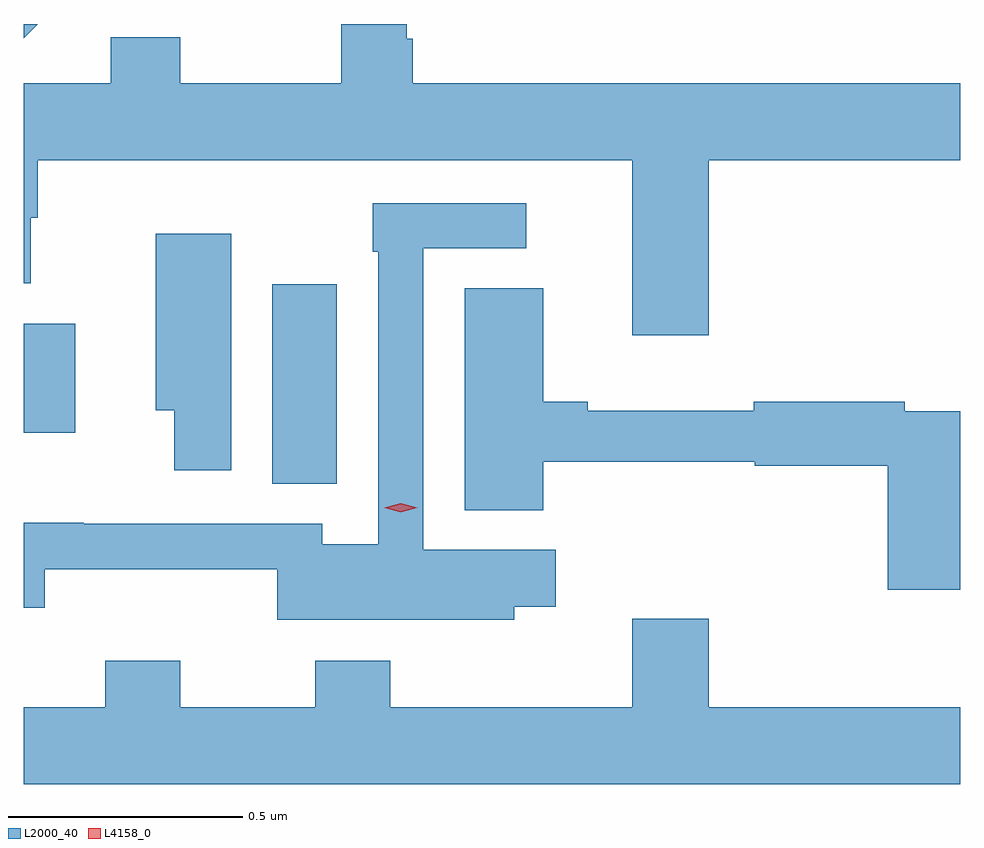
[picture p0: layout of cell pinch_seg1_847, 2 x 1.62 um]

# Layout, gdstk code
import gdstk
lib = gdstk.Library(unit=1e-6, precision=1e-09)
def R(c, l, rs):  # rectangles x0, y0, x1, y1
    for r in rs: c.add(gdstk.rectangle(r[:2], r[2:], *l))
def P(c, l, *ps):  # polygons
    for p in ps: c.add(gdstk.Polygon(p, *l))
L2000_40 = (2000, 40)
L4158_0 = (4158, 0)

pinch_seg1_847 = lib.new_cell('pinch_seg1_847')
R(pinch_seg1_847, L2000_40, [(487.916,545.713,488.053,546.139), (487.385,545.822,487.495,546.055)])
P(pinch_seg1_847, L2000_40, [(488.848,546.404),(489.385,546.404),(489.385,546.568),(488.216,546.568),(488.216,546.664),(488.203,546.664),(488.203,546.695),(488.063,546.695),(488.063,546.568),(487.719,546.568),(487.719,546.667),(487.571,546.667),(487.571,546.568),(487.385,546.568),(487.385,546.141),(487.4,546.141),(487.4,546.281),(487.415,546.281),(487.415,546.404),(488.684,546.404),(488.684,546.03),(488.848,546.03)],
  [(487.415,546.695),(487.385,546.695),(487.385,546.665)],
  [(488.433,545.45),(488.521,545.45),(488.521,545.572),(488.238,545.572),(488.238,546.216),(488.458,546.216),(488.458,546.312),(488.13,546.312),(488.13,546.209),(488.142,546.209),(488.142,545.584),(488.022,545.584),(488.022,545.628),(487.513,545.628),(487.513,545.63),(487.385,545.63),(487.385,545.448),(487.43,545.448),(487.43,545.531),(487.926,545.531),(487.926,545.423),(488.433,545.423)],
  [(487.828,546.247),(487.667,546.247),(487.667,545.87),(487.706,545.87),(487.706,545.742),(487.828,545.742)],
  [(489.385,545.868),(489.266,545.868),(489.266,545.888),(488.944,545.888),(488.944,545.869),(488.59,545.869),(488.59,545.888),(488.494,545.888),(488.494,546.131),(488.327,546.131),(488.327,545.657),(488.494,545.657),(488.494,545.76),(488.946,545.76),(488.946,545.752),(489.23,545.752),(489.23,545.487),(489.385,545.487)],
  [(489.385,545.236),(488.848,545.236),(488.848,545.425),(488.684,545.425),(488.684,545.236),(488.168,545.236),(488.168,545.335),(488.008,545.335),(488.008,545.236),(487.719,545.236),(487.719,545.335),(487.559,545.335),(487.559,545.236),(487.385,545.236),(487.385,545.072),(489.385,545.072)])
P(pinch_seg1_847, L4158_0, [(488.19,545.652),(488.155,545.662),(488.155,545.662),(488.155,545.662),(488.19,545.672),(488.225,545.662),(488.225,545.662),(488.225,545.662)])

lib.write_gds('pinch_seg1_847.gds')
